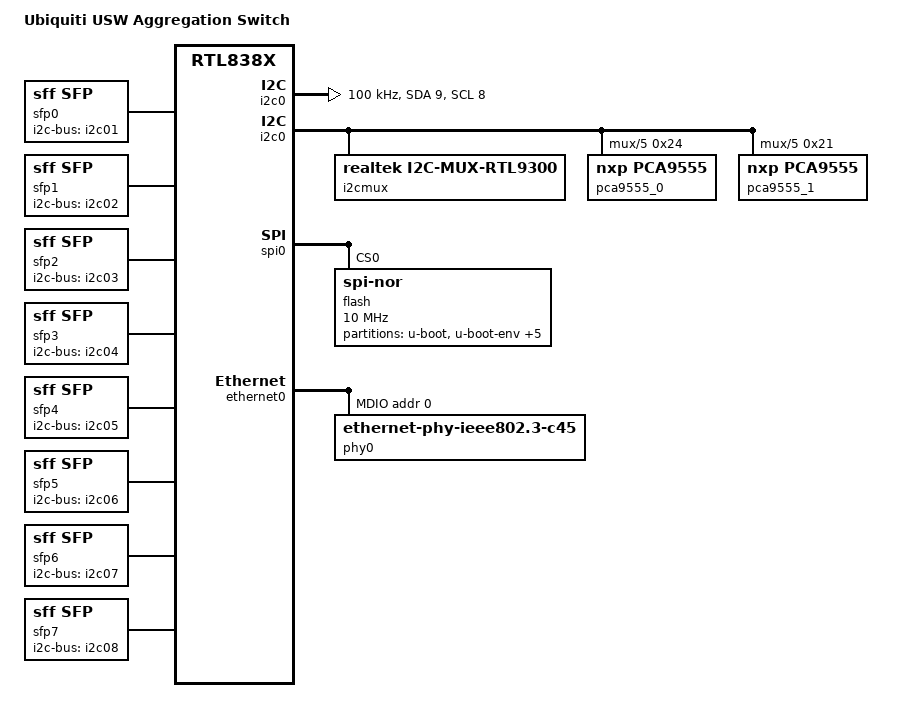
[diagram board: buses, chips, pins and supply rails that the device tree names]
// SPDX-License-Identifier: GPL-2.0-or-later
/dts-v1/;

#include "rtl930x.dtsi"

#include <dt-bindings/input/input.h>
#include <dt-bindings/gpio/gpio.h>

/ {
	compatible = "ubiquiti,usw-aggregation", "realtek,rtl838x-soc";
	model = "Ubiquiti USW Aggregation Switch";

	// mw.l 0xb8003308 0x00200000 active low toggles PHY reset
	chosen {
		bootargs = "console=ttyS0,115200";
	};

	i2c0: i2c-rtl9300 {
		compatible = "realtek,rtl9300-i2c";
		reg = <0x1b00036c 0x3c>;
		#address-cells = <1>;
		#size-cells = <0>;
		sda-pin = <9>;
		scl-pin = <8>;
		clock-frequency = <100000>;
	};

	i2cmux {
		compatible = "realtek,i2c-mux-rtl9300";
		#address-cells = <1>;
		#size-cells = <0>;
		i2c-parent = <&i2c0>;

		i2c01: i2c-rtl9300-1 {
			reg = <1>;
			#address-cells = <1>;
			#size-cells = <0>;
			sda-pin = <9>;
			scl-pin = <8>;
		};

		i2c02: i2c-rtl9300-2 {
			reg = <2>;
			#address-cells = <1>;
			#size-cells = <0>;
			sda-pin = <10>;
			scl-pin = <8>;
		};

		i2c03: i2c-rtl9300-3 {
			reg = <3>;
			#address-cells = <1>;
			#size-cells = <0>;
			sda-pin = <11>;
			scl-pin = <8>;
		};
		
		i2c04: i2c-rtl9300-4 {
			reg = <4>;
			#address-cells = <1>;
			#size-cells = <0>;
			sda-pin = <12>;
			scl-pin = <8>;
		};

		i2c05: i2c-rtl9300-5 {
			reg = <5>;
			#address-cells = <1>;
			#size-cells = <0>;
			sda-pin = <13>;
			scl-pin = <8>;

			pca9555_0: i2c@0524 {
				compatible = "nxp,pca9555";
				reg = <0x24>;
				gpio-controller;
				#gpio-cells = <2>;
			};

			pca9555_1: i2c@0521 {
				compatible = "nxp,pca9555";
				reg = <0x21>;
				gpio-controller;
				#gpio-cells = <2>;
			};

		};

		i2c06: i2c-rtl9300-6 {
			reg = <6>;
			#address-cells = <1>;
			#size-cells = <0>;
			sda-pin = <14>;
			scl-pin = <8>;
		};

		i2c07: i2c-rtl9300-7 {
			reg = <7>;
			#address-cells = <1>;
			#size-cells = <0>;
			sda-pin = <15>;
			scl-pin = <8>;
		};
	
		i2c08: i2c-rtl9300-8 {
			reg = <8>;
			#address-cells = <1>;
			#size-cells = <0>;
			sda-pin = <16>;
			scl-pin = <8>;
		};
	};

	sfp0: sfp-p1 {
		compatible = "sff,sfp"; // TODO: SFP+???
		i2c-bus = <&i2c01>;
//		los-gpio = <&pca9555_0 0 GPIO_ACTIVE_HIGH>;
//		tx-fault-gpio = <&pca9555_0 1 GPIO_ACTIVE_HIGH>;
//		mod-def0-gpio = <&pca9555_0 2 GPIO_ACTIVE_LOW>;
	};
	sfp1: sfp-p2 {
		compatible = "sff,sfp"; // TODO: SFP+???
		i2c-bus = <&i2c02>;
//		los-gpio = <&pca9555_0 4 GPIO_ACTIVE_HIGH>;
//		tx-fault-gpio = <&pca9555_0 5 GPIO_ACTIVE_HIGH>;
//		mod-def0-gpio = <&pca9555_0 6 GPIO_ACTIVE_LOW>;
	};
	sfp2: sfp-p3 {
		compatible = "sff,sfp"; // TODO: SFP+???
		i2c-bus = <&i2c03>;
//		los-gpio = <&pca9555_0 8 GPIO_ACTIVE_HIGH>;
//		tx-fault-gpio = <&pca9555_0 9 GPIO_ACTIVE_HIGH>;
//		mod-def0-gpio = <&pca9555_0 10 GPIO_ACTIVE_LOW>;
	};
	sfp3: sfp-p4 {
		compatible = "sff,sfp"; // TODO: SFP+???
		i2c-bus = <&i2c04>;
//		los-gpio = <&pca9555_0 12 GPIO_ACTIVE_HIGH>;
//		tx-fault-gpio = <&pca9555_0 13 GPIO_ACTIVE_HIGH>;
//		mod-def0-gpio = <&pca9555_0 14 GPIO_ACTIVE_LOW>;
	};
	sfp4: sfp-p5 {
		compatible = "sff,sfp"; // TODO: SFP+???
		i2c-bus = <&i2c05>;
//		los-gpio = <&pca9555_1 0 GPIO_ACTIVE_HIGH>;
//		tx-fault-gpio = <&pca9555_1 1 GPIO_ACTIVE_HIGH>;
//		mod-def0-gpio = <&pca9555_1 2 GPIO_ACTIVE_LOW>;
	};
	sfp5: sfp-p6 {
		compatible = "sff,sfp"; // TODO: SFP+???
		i2c-bus = <&i2c06>;
//		los-gpio = <&pca9555_1 4 GPIO_ACTIVE_HIGH>;
//		tx-fault-gpio = <&pca9555_1 5 GPIO_ACTIVE_HIGH>;
//		mod-def0-gpio = <&pca9555_1 6 GPIO_ACTIVE_LOW>;
	};
	sfp6: sfp-p7 {
		compatible = "sff,sfp"; // TODO: SFP+???
		i2c-bus = <&i2c07>;
//		los-gpio = <&pca9555_1 8 GPIO_ACTIVE_HIGH>;
//		tx-fault-gpio = <&pca9555_1 9 GPIO_ACTIVE_HIGH>;
//		mod-def0-gpio = <&pca9555_1 10 GPIO_ACTIVE_LOW>;
	};
	sfp7: sfp-p8 {
		compatible = "sff,sfp"; // TODO: SFP+???
		i2c-bus = <&i2c08>;
//		los-gpio = <&pca9555_1 12 GPIO_ACTIVE_HIGH>;
//		tx-fault-gpio = <&pca9555_1 13 GPIO_ACTIVE_HIGH>;
//		mod-def0-gpio = <&pca9555_1 14 GPIO_ACTIVE_LOW>;
	};
};

&spi0 {
	status = "okay";
	flash@0 {
		compatible = "jedec,spi-nor";
		reg = <0>;
		spi-max-frequency = <10000000>;

		partitions {
			compatible = "fixed-partitions";
			#address-cells = <1>;
			#size-cells = <1>;

			partition@0 {
				label = "u-boot";
				reg = <0x0 0x80000>;
				read-only;
			};
			partition@80000 {
				label = "u-boot-env";
				reg = <0x80000 0x10000>;
				read-only;
			};
			partition@90000 {
				label = "u-boot-env2";
				reg = <0x90000 0x10000>;
				read-only;
			};
			partition@a0000 {
				label = "jffs";
				reg = <0xa0000 0x100000>;
			};
			partition@1a0000 {
				label = "jffs2";
				reg = <0x1a0000 0x100000>;
			};
			partition@2a0000 {
				label = "firmware";
				reg = <0x2a0000 0xd50000>;
				compatible = "denx,uimage";
			};
			partition@ff0000 {
				label = "EEPROM";
				reg = <0xff0000 0x10000>;
			};
		};
	};
};

&ethernet0 {
	mdio: mdio-bus {
		compatible = "realtek,rtl838x-mdio";
		regmap = <&ethernet0>;
		#address-cells = <1>;
		#size-cells = <0>;

		/* Internal phy for SFP+ ports */
		phy0: ethernet-phy@0 {
			reg = <0>;
			compatible = "ethernet-phy-ieee802.3-c45";
			phy-is-integrated;
			rtl9300,smi-address = <1 8>;
		};
	};
};

&switch0 {
	ports {
		#address-cells = <1>;
		#size-cells = <0>;


		port@0 {
			reg = <0>;
			label = "lan1";
			phy-mode = "10gbase-kr";
//			phy-mode = "1000base-x";
			phy-handle = <&phy0>;
			sfp = <&sfp0>;

			fixed-link {
				managed;
				in-band-status;
				speed = <10000>;
//				speed = <1000>;
				full-duplex;
				pause;
			};

		};

		port@28 {
			ethernet = <&ethernet0>;
			reg = <28>;
			phy-mode = "internal";
			fixed-link {
				speed = <1000>;
				full-duplex;
			};
		};
	};
};
